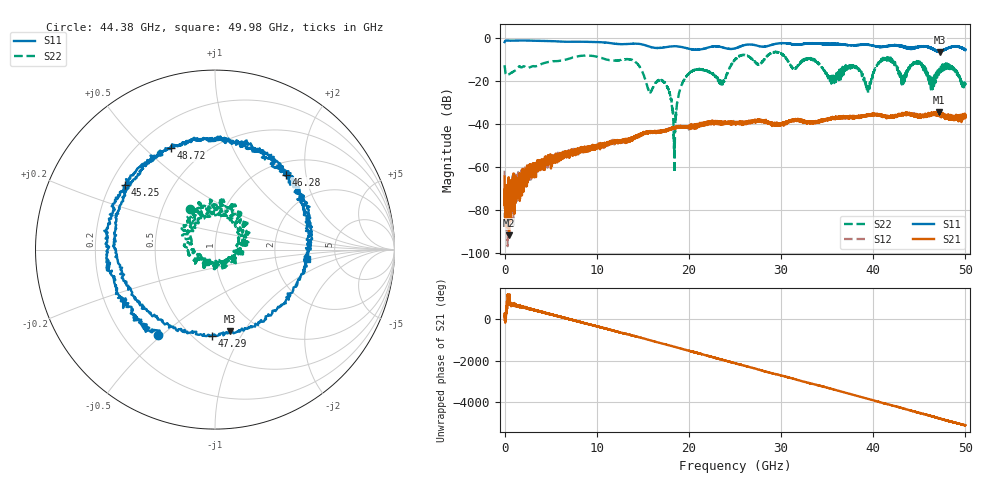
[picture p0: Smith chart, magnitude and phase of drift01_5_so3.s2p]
!Created with skrf (http://scikit-rf.org).
# Hz S RI R 50.0
!freq ReS11 ImS11 ReS21 ImS21 ReS12 ImS12 ReS22 ImS22
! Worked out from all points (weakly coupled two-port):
!   10001 points, 300 kHz to 50 GHz, reference 50 ohm
!   highest |S21| = -34.52 dB at 47.13 GHz (marker M1); lowest = -91.8 dB at 490.3 MHz (marker M2)
!   lowest |S11| = -6.7 dB at 47.2 GHz (marker M3), VSWR 2.72, Z = 37.6 - j43.5 ohm
!   |S11| at or under -10 dB: nowhere
!   |S22| runs from -62.8 to -6.6 dB; largest |S21 - S12| = 0.0036
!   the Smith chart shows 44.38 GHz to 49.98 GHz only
!   S11 on the Smith chart (normalised r, x): 44.38 GHz: 0.34, -0.49; 45.25 GHz: 0.26, +0.30; 46.28 GHz: 1.24, +1.54; 47.29 GHz: 0.61, -0.76; 48.72 GHz: 0.33, +0.61; 49.98 GHz: 3.08, -0.44
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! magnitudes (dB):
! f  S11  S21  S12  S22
! 300 kHz  -2.1  -64.5  -61.8  -12.9
! 490.3 MHz  -1.5  -91.8  -77.6  -17.0
! 8.335 GHz  -2.0  -51.9  -52.6  -8.5
! 16.67 GHz  -4.9  -43.9  -44.1  -19.9
! 17.74 GHz  -4.3  -43.1  -42.9  -23.6
! 18.42 GHz  -4.1  -41.5  -41.7  -48.8
! 19.9 GHz  -5.1  -41.4  -41.5  -17.2
! 23.6 GHz  -4.5  -39.4  -39.5  -20.4
! 25 GHz  -5.0  -39.3  -39.6  -10.3
! 33.34 GHz  -2.6  -39.3  -39.3  -9.9
! 39.36 GHz  -3.4  -36.0  -35.9  -23.1
! 41.67 GHz  -3.9  -36.8  -36.8  -9.9
! 43.18 GHz  -4.2  -35.9  -35.6  -18.9
! 44.38 GHz  -4.9  -36.3  -36.2  -11.6
! 45.25 GHz  -4.2  -36.7  -36.2  -12.5
! 46.28 GHz  -4.8  -35.4  -35.4  -24.1
! 47.13 GHz  -6.5  -34.5  -35.8  -16.3
! 47.2 GHz  -6.7  -35.1  -35.9  -14.2
! 47.29 GHz  -6.4  -35.9  -35.5  -15.9
! 48.72 GHz  -4.2  -37.0  -37.5  -14.2
! 49.98 GHz  -5.7  -35.8  -36.5  -21.4
! 50 GHz  -5.6  -37.1  -36.7  -21.9
